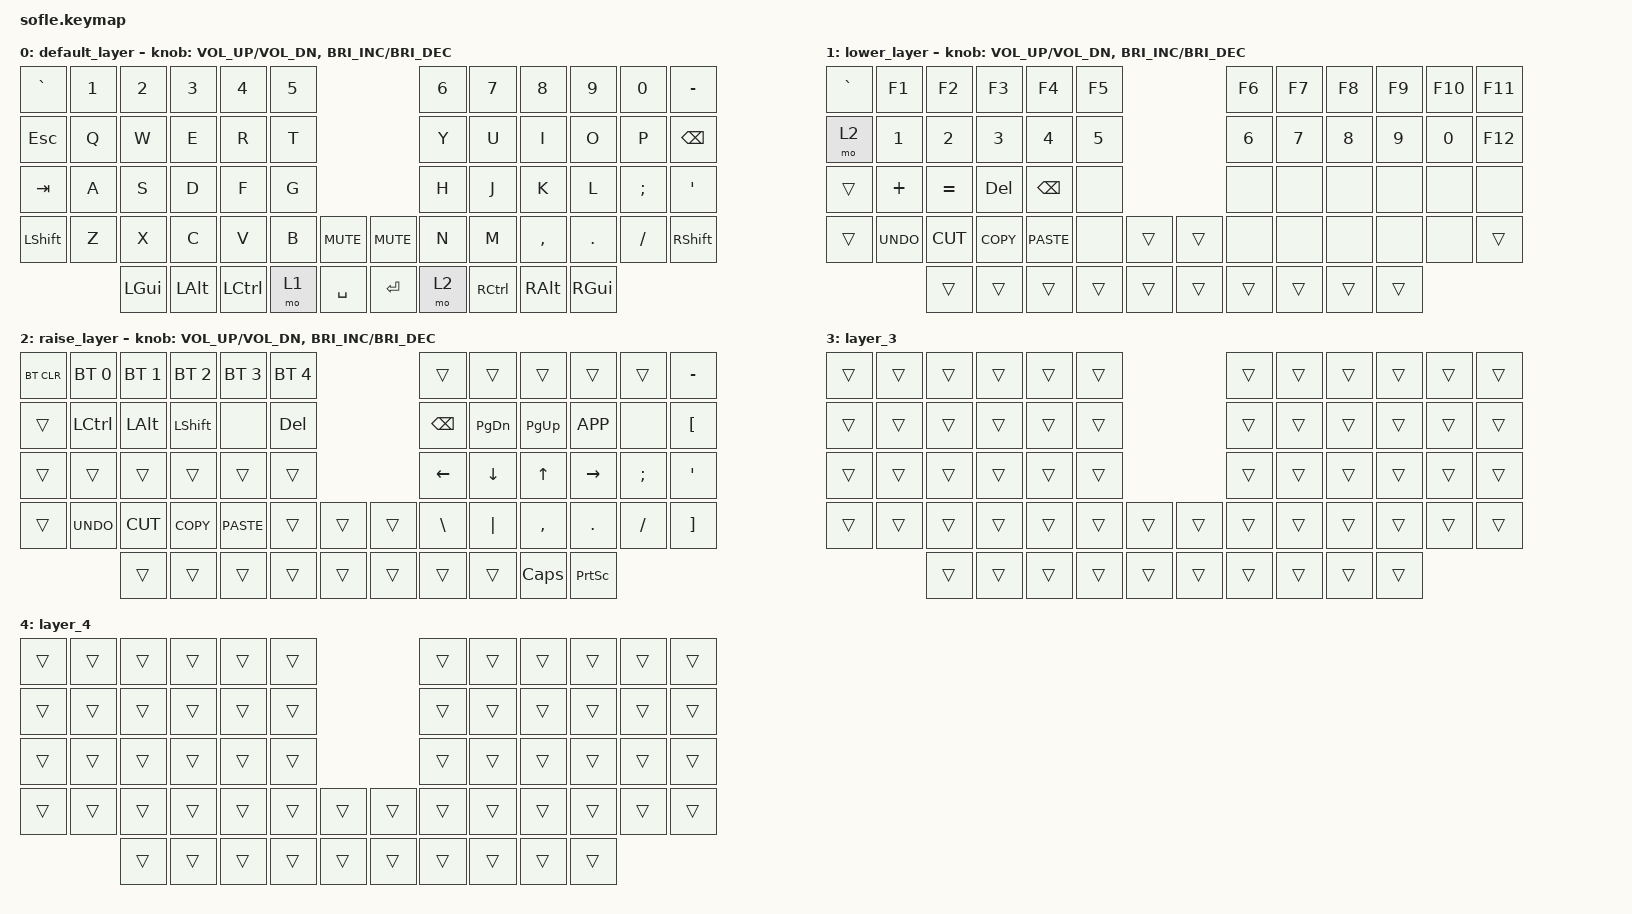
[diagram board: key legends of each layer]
/*
 * Copyright (c) 2020 The ZMK Contributors
 *
 * SPDX-License-Identifier: MIT
 */

#include <behaviors.dtsi>
#include <dt-bindings/zmk/bt.h>
#include <dt-bindings/zmk/keys.h>

/ {
    keymap {
        compatible = "zmk,keymap";

        default_layer {
            // ------------------------------------------------------------------------------------------------------------
            // |  `    |  1  |  2  |  3   |  4   |  5   |                   |  6   |  7    |  8    |  9   |   0   |       |
            // |  ESC  |  Q  |  W  |  E   |  R   |  T   |                   |  Y   |  U    |  I    |  O   |   P   | BKSPC |
            // |  TAB  |  A  |  S  |  D   |  F   |  G   |                   |  H   |  J    |  K    |  L   |   ;   |   '   |
            // | SHIFT |  Z  |  X  |  C   |  V   |  B   |  MUTE  |  |       |  N   |  M    |  ,    |  .   |   /   | SHIFT |
            //               | GUI | ALT  | CTRL | LOWER|  ENTER |  | SPACE | RAISE| CTRL  | ALT   | GUI  |

            bindings = <
&kp GRAVE  &kp N1  &kp N2    &kp N3    &kp N4     &kp N5                            &kp N6  &kp N7     &kp N8     &kp N9    &kp N0    &kp MINUS
&kp ESC    &kp Q   &kp W     &kp E     &kp R      &kp T                             &kp Y   &kp U      &kp I      &kp O     &kp P     &kp BSPC
&kp TAB    &kp A   &kp S     &kp D     &kp F      &kp G                             &kp H   &kp J      &kp K      &kp L     &kp SEMI  &kp SQT
&kp LSHFT  &kp Z   &kp X     &kp C     &kp V      &kp B   &kp C_MUTE    &kp C_MUTE  &kp N   &kp M      &kp COMMA  &kp DOT   &kp FSLH  &kp RSHFT
                   &kp LGUI  &kp LALT  &kp LCTRL  &mo 1   &kp SPACE     &kp ENTER   &mo 2   &kp RCTRL  &kp RALT   &kp RGUI
            >;

            sensor-bindings =
                <&inc_dec_kp C_VOL_UP C_VOL_DN>,
                <&inc_dec_kp C_BRIGHTNESS_INC C_BRIGHTNESS_DEC>;
        };

        lower_layer {
            // TODO: Some binds are waiting for shifted keycode support.
            // ------------------------------------------------------------------------------------------------------------
            // | `     |  F1 |  F2 |  F3  |  F4  |  F5  |                   |  F6  |  F7   |  F8   |  F9  |  F10  |  F11  |
            // | RAISE |   1 |   2 |   3  |   4  |   5  |                   |   6  |   7   |   8   |   9  |    0  |  F12  |
            // |       |  !  |  @  |  #   |  $   |  %   |                   |  ^   |  &    |  *    |  (   |   )   |   |   |
            // |       |  =  |  -  |  +   |  {   |  }   |        |  |       |  [   |  ]    |  ;    |  :   |   \   |       |
            //               |     |      |      |      |        |  |       |      |       |       |      |

            bindings = <
&kp GRAVE  &kp F1      &kp F2     &kp F3      &kp F4         &kp F5                    &kp F6  &kp F7  &kp F8  &kp F9  &kp F10  &kp F11
&mo 2      &kp N1      &kp N2     &kp N3      &kp N4         &kp N5                    &kp N6  &kp N7  &kp N8  &kp N9  &kp N0   &kp F12
&trans     &kp PLUS    &kp EQUAL  &kp DELETE  &kp BACKSPACE  &none                     &none   &none   &none   &none   &none    &none
&trans     &kp K_UNDO  &kp K_CUT  &kp K_COPY  &kp K_PASTE    &none   &trans    &trans  &none   &none   &none   &none   &none    &trans
                       &trans     &trans      &trans         &trans  &trans    &trans  &trans  &trans  &trans  &trans
            >;

            sensor-bindings =
                <&inc_dec_kp C_VOL_UP C_VOL_DN>,
                <&inc_dec_kp C_BRIGHTNESS_INC C_BRIGHTNESS_DEC>;
        };

        raise_layer {
            // ------------------------------------------------------------------------------------------------------------
            // |BTCLR| BT1  | BT2  |  BT3  |  BT4  |  BT5 |                |      |      |       |      |       |       |
            // |     | INS  | PSCR | GUI   |       |      |                | PGUP |      |       |      |       |       |
            // |     | ALT  | CTRL | SHIFT |       | CAPS |                |  <-  |   v  |   ^   |  ->  |  DEL  | BKSPC |
            // |     | UNDO | CUT  | COPY  | PASTE |      |      |  |      |      |      |       |      |       |       |
            //              |      |       |       |      |      |  |      |      |      |       |      |

            bindings = <
&bt BT_CLR  &bt BT_SEL 0  &bt BT_SEL 1  &bt BT_SEL 2    &bt BT_SEL 3  &bt BT_SEL 4                    &trans         &trans         &trans        &trans           &trans         &kp MINUS
&trans      &kp LCTRL     &kp LEFT_ALT  &kp LEFT_SHIFT  &none         &kp DELETE                      &kp BACKSPACE  &kp PAGE_DOWN  &kp PAGE_UP   &kp K_APP        &none          &kp LEFT_BRACKET
&trans      &trans        &trans        &trans          &trans        &trans                          &kp LEFT       &kp DOWN       &kp UP        &kp RIGHT        &kp SEMICOLON  &kp SQT
&trans      &kp K_UNDO    &kp K_CUT     &kp K_COPY      &kp K_PASTE   &trans        &trans    &trans  &kp BACKSLASH  &kp PIPE       &kp COMMA     &kp DOT          &kp SLASH      &kp RIGHT_BRACKET
                          &trans        &trans          &trans        &trans        &trans    &trans  &trans         &trans         &kp CAPSLOCK  &kp PRINTSCREEN
            >;

            sensor-bindings =
                <&inc_dec_kp C_VOL_UP C_VOL_DN>,
                <&inc_dec_kp C_BRIGHTNESS_INC C_BRIGHTNESS_DEC>;
        };

        layer_3 {
            bindings = <
&trans  &trans  &trans  &trans  &trans  &trans                    &trans  &trans  &trans  &trans  &trans  &trans
&trans  &trans  &trans  &trans  &trans  &trans                    &trans  &trans  &trans  &trans  &trans  &trans
&trans  &trans  &trans  &trans  &trans  &trans                    &trans  &trans  &trans  &trans  &trans  &trans
&trans  &trans  &trans  &trans  &trans  &trans  &trans    &trans  &trans  &trans  &trans  &trans  &trans  &trans
                &trans  &trans  &trans  &trans  &trans    &trans  &trans  &trans  &trans  &trans
            >;
        };

        layer_4 {
            bindings = <
&trans  &trans  &trans  &trans  &trans  &trans                    &trans  &trans  &trans  &trans  &trans  &trans
&trans  &trans  &trans  &trans  &trans  &trans                    &trans  &trans  &trans  &trans  &trans  &trans
&trans  &trans  &trans  &trans  &trans  &trans                    &trans  &trans  &trans  &trans  &trans  &trans
&trans  &trans  &trans  &trans  &trans  &trans  &trans    &trans  &trans  &trans  &trans  &trans  &trans  &trans
                &trans  &trans  &trans  &trans  &trans    &trans  &trans  &trans  &trans  &trans
            >;
        };
    };
};
